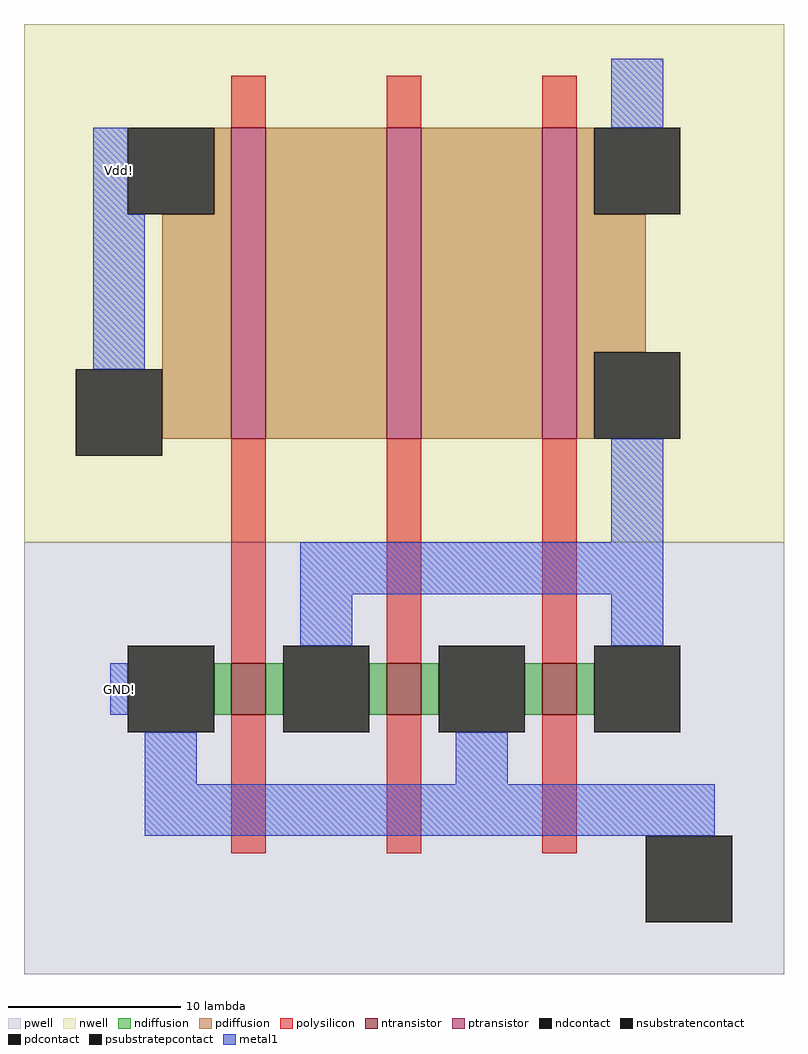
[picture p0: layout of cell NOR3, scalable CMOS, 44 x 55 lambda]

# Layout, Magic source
magic
tech scmos
<< nwell >>
rect -11 10 33 40
<< pwell >>
rect -11 -15 33 10
<< ntransistor >>
rect 1 0 3 3
rect 10 0 12 3
rect 19 0 21 3
<< ptransistor >>
rect 1 16 3 34
rect 10 16 12 34
rect 19 16 21 34
<< ndiffusion >>
rect 0 0 1 3
rect 3 0 4 3
rect 9 0 10 3
rect 12 0 13 3
rect 18 0 19 3
rect 21 0 22 3
<< pdiffusion >>
rect 0 29 1 34
rect -3 16 1 29
rect 3 16 10 34
rect 12 16 19 34
rect 21 29 22 34
rect 21 21 25 29
rect 21 16 22 21
<< ndcontact >>
rect -5 -1 0 4
rect 4 -1 9 4
rect 13 -1 18 4
rect 22 -1 27 4
<< pdcontact >>
rect -5 29 0 34
rect 22 29 27 34
rect 22 16 27 21
<< psubstratepcontact >>
rect 25 -12 30 -7
<< nsubstratencontact >>
rect -8 15 -3 20
<< polysilicon >>
rect 1 34 3 37
rect 10 34 12 37
rect 19 34 21 37
rect 1 3 3 16
rect 1 -8 3 0
rect 10 3 12 16
rect 10 -8 12 0
rect 19 3 21 16
rect 19 -8 21 0
<< metal1 >>
rect 23 34 26 38
rect -7 29 -5 34
rect -7 20 -4 29
rect 23 10 26 16
rect 5 7 26 10
rect 5 4 8 7
rect 23 4 26 7
rect -6 0 -5 3
rect -4 -4 -1 -1
rect 14 -4 17 -1
rect -4 -7 29 -4
<< labels >>
rlabel metal1 -6 0 -5 3 1 GND!
rlabel metal1 -6 30 -5 33 3 Vdd!
<< end >>
